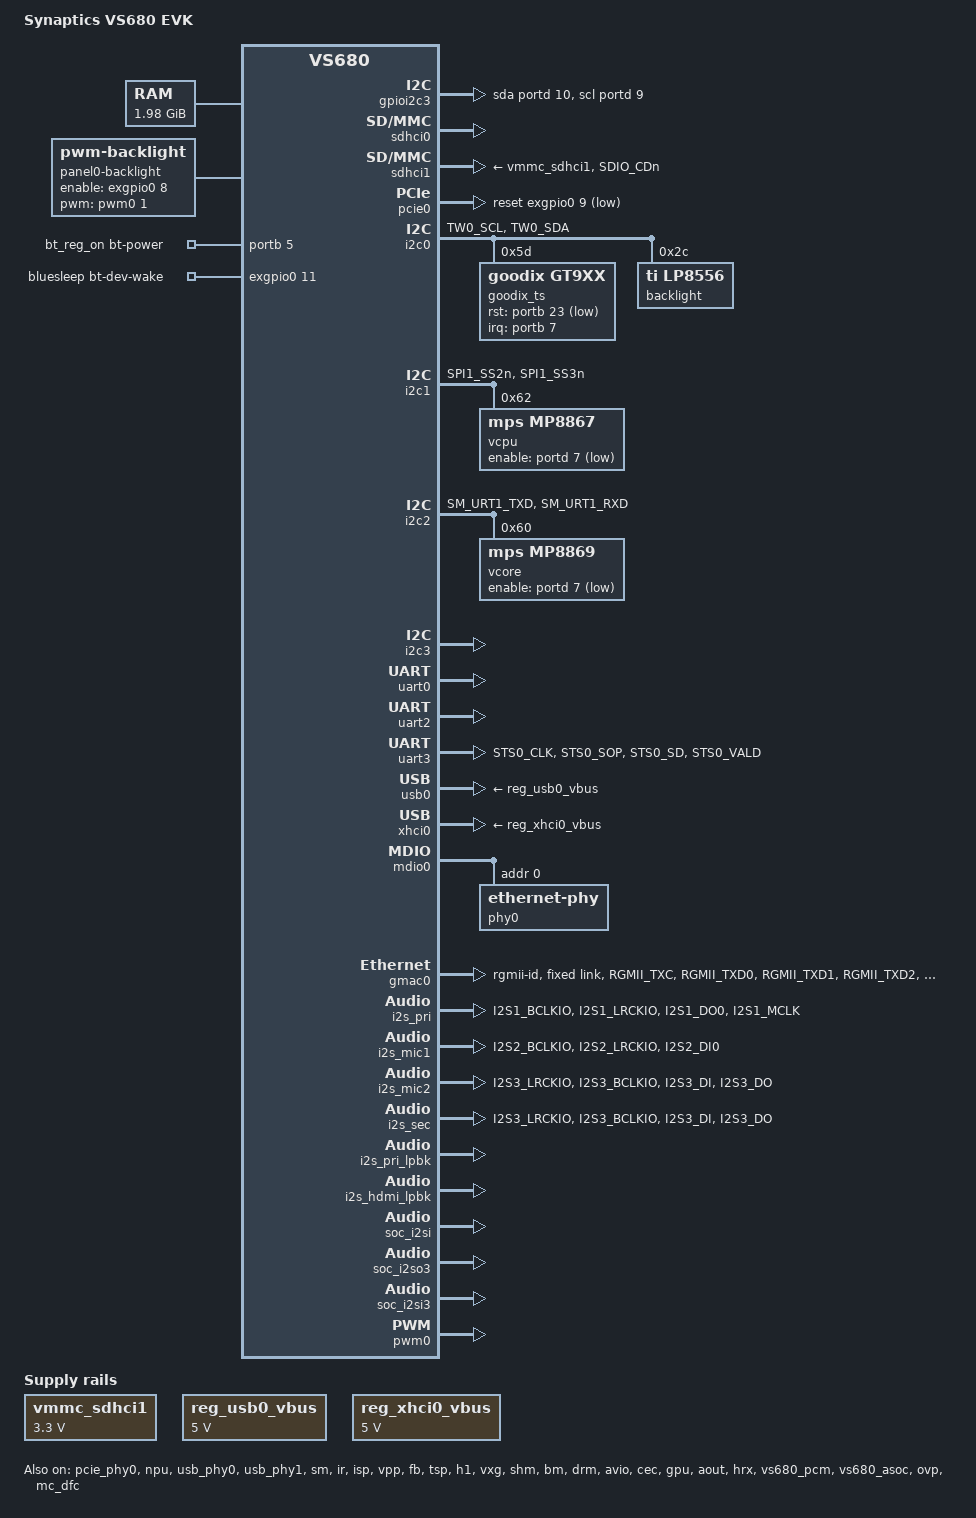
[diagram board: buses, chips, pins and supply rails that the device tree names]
// SPDX-License-Identifier: (GPL-2.0 OR MIT)
/*
 * Copyright (C) 2020 Synaptics Incorporated
 *
 * Author: Jisheng Zhang <jszhang@kernel.org>
 */

/dts-v1/;

/memreserve/ 0x7f000000 0x01000000;

#include <dt-bindings/gpio/gpio.h>

#include "vs680-a0.dtsi"

/ {
	model = "Synaptics VS680 EVK";
	compatible = "syna,vs680-evk", "syna,vs680";

	aliases {
		i2c3 = &i2cdemux3_i2c;
	};

	cpus {
		cpu@0 {
			cpu0-supply = <&vcpu>;
		};
	};

	chosen {
		stdout-path = "serial0:115200n8";
	};

	memory {
		device_type = "memory";
		reg = <0 0x01000000 0 0x7f000000>;
	};

	reserved-memory {
		#address-cells = <2>;
		#size-cells = <2>;
		ranges;

		ramoops@f901c000{
			compatible = "ramoops";
			reg = <0x0 0xf901c000 0x0 0x4000>;
			record-size = <0x4000>;
		};
	};

	panel0-backlight {
		compatible = "pwm-backlight";
		pinctrl-names = "default";
		pinctrl-0 = <&pwm1_pmux>;
		pwms = <&pwm0 1 1000000 0>;
		brightness-levels = <
			0 1 2 3 4 5 6 7
			8 9 10 11 12 13 14 15
			16 17 18 19 20 21 22 23
			24 25 26 27 28 29 30 31
			32 33 34 35 36 37 38 39
			40 41 42 43 44 45 46 47
			48 49 50 51 52 53 54 55
			56 57 58 59 60 61 62 63
			64 65 66 67 68 69 70 71
			72 73 74 75 76 77 78 79
			80 81 82 83 84 85 86 87
			88 89 90 91 92 93 94 95
			96 97 98 99 100 101 102 103
			104 105 106 107 108 109 110 111
			112 113 114 115 116 117 118 119
			120 121 122 123 124 125 126 127
			128 129 130 131 132 133 134 135
			136 137 138 139 140 141 142 143
			144 145 146 147 148 149 150 151
			152 153 154 155 156 157 158 159
			160 161 162 163 164 165 166 167
			168 169 170 171 172 173 174 175
			176 177 178 179 180 181 182 183
			184 185 186 187 188 189 190 191
			192 193 194 195 196 197 198 199
			200 201 202 203 204 205 206 207
			208 209 210 211 212 213 214 215
			216 217 218 219 220 221 222 223
			224 225 226 227 228 229 230 231
			232 233 234 235 236 237 238 239
			240 241 242 243 244 245 246 247
			248 249 250 251 252 253 254 255>;
		default-brightness-level = <254>;
		//enable-gpio ET6416 GPIO1.0
		enable-gpio = <&exgpio0 8  GPIO_ACTIVE_HIGH>;
		status = "okay";
	};

	ion {
		compatible = "syna,ion-berlin-heaps";
		pool-num = <2>;
		reg-names = "NonSecure", "Secure";
		reg = <0 0x7f000000 0 0x00800000>,
		      <0 0x7f800000 0 0x00800000>;
		attributes-num-per-pool = <2>;
		pool-attributes = <0x00000105 0x00000F3A 0x00000102 0x00000F3D>;
	};

	regulators {
		compatible = "simple-bus";
		#address-cells = <1>;
		#size-cells = <0>;

		vmmc_sdhci1: vmmc_sdhci1 {
			compatible = "regulator-fixed";
			regulator-min-microvolt = <3300000>;
			regulator-max-microvolt = <3300000>;
			regulator-name = "vmmc_sdio";
			enable-active-high;
			//gpio = <&expander3 1 GPIO_ACTIVE_HIGH>;
		};

		reg_usb0_vbus: usb0_vbus {
			compatible = "regulator-fixed";
			regulator-name = "usb0_vbus";
			regulator-min-microvolt = <5000000>;
			regulator-max-microvolt = <5000000>;
			//gpio = <&expander2 3 GPIO_ACTIVE_HIGH>;
			enable-active-high;
		};

		reg_xhci0_vbus: xhci0_vbus {
			compatible = "regulator-fixed";
			regulator-name = "xhci0_vbus";
			regulator-min-microvolt = <5000000>;
			regulator-max-microvolt = <5000000>;
			//gpio = <&expander2 2 GPIO_ACTIVE_HIGH>;
			enable-active-high;
		};
	};

	dummy_label {
		dummy1 = <&vcpu1>;
		dummy2 = <&vcore1>;
		dummy3 = <&vcpu2>;
		dummy4 = <&vcore2>;
	};

	bt_reg_on: bt_reg_on {		
		compatible = "syna,rfkill";
		status = "okay";
		//bt-power-gpio = <&expander1 5 GPIO_ACTIVE_HIGH>;
		//BT_RST_N：GPIO[37]   
		bt-power-gpio = <&portb 5 GPIO_ACTIVE_HIGH>;
	};


/*	
    //这一段不能加，否则程序不能很好打开工作，切记

	//WIFI_EN：-ET6416 GPIO1.2  (O,置H wifi工作)
	wifi_reg_on: wifi_reg_on {
		compatible = "android,bcmdhd_wlan";
		status = "okay";
		wl_reg_on = <&exgpio0 10 GPIO_ACTIVE_HIGH>;
		wl_host_wake = <&portd 14 GPIO_ACTIVE_HIGH>;
	};

*/
	////HOST_WAKE_BT：ET6416 GPIO1.3 
	bluesleep: bluesleep {
		compatible = "syna,bluesleep";
		bt-dev-wake-gpio = <&exgpio0 11 GPIO_ACTIVE_HIGH>;
	};

	gpioi2c3: gpioi2c3 {
		#address-cells = <1>;
		#size-cells = <0>;
		compatible = "i2c-gpio";
		gpios = <&portd 10 GPIO_ACTIVE_HIGH /* sda */
			 &portd 9 GPIO_ACTIVE_HIGH /* scl */
			>;
		i2c-gpio,delay-us = <5>;
	};

	i2cdemux3 {
		compatible = "i2c-dyndmx-pinctrl";
		#address-cells = <1>;
		#size-cells = <0>;

		i2c-parent = <&i2c3>, <&gpioi2c3>;

		pinctrl-names = "i2c3", "gpioi2c3";
		pinctrl-0 = <&i2c3_pmux>;
		pinctrl-1 = <&gpioi2c3_pmux>;

		i2cdemux3_i2c: i2c@0 {
			reg = <0>;
			#address-cells = <1>;
			#size-cells = <0>;

			sn6040_codec: sn6040@33 {
				compatible = "senarytech,sn6040-codec";
				pinctrl-names = "default";
				//pinctrl-0 = <&falcon_gpio_pmux>;
				reg = <0x33>;
				#sound-dai-cells = <0>;
				status = "okay";
			};

			exgpio0: gpio@20 {
				compatible = "etek,et6416";
				reg = <0x20>;
				gpio-controller;
				#gpio-cells = <2>;
			};	
/*
			rtc0: rtc@68 {
				compatible = "dallas,ds1339";
				wakeup-source;
				reg = <0x68>;
			};
*/
		};

		i2c@1 {
			reg = <1>;
			#address-cells = <1>;
			#size-cells = <0>;
		};
	};
};

&pinctrl {
	gmac0_pmux: gmac0-pmux {
		groups = "RGMII_TXC", "RGMII_TXD0", "RGMII_TXD1", "RGMII_TXD2", "RGMII_TXD3", "RGMII_TXCTL", "RGMII_RXC", "RGMII_RXD0", "RGMII_RXD1", "RGMII_RXD2", "RGMII_RXD3", "RGMII_RXCTL";
		function = "rgmii";
		drive-strength = <3>;
	};

	i2c0_pmux: i2c0-pmux {
		groups = "TW0_SCL", "TW0_SDA";
		function = "tw0";
		drive-strength = <7>;
	};

	i2c1_pmux: i2c1-pmux {
		groups = "SPI1_SS2n", "SPI1_SS3n";
		function = "tw1b";
		drive-strength = <3>;
	};

	sdhci1_pmux: sdhci1-pmux {
		groups = "SDIO_CDn";
		function = "sdio";
		drive-strength = <7>;
	};

    // BT for uart3
	uart3_pmux: uart3-pmux {
		groups = "STS0_CLK", "STS0_SOP", "STS0_SD", "STS0_VALD";
		function = "uart3";
	};

	pwm1_pmux: pwm1-pmux {
		groups = "SPI1_SS1n";
		function = "pwm";
	};
};

&sm_pinctrl {
	i2c2_pmux: i2c2-pmux {
		groups = "SM_URT1_TXD", "SM_URT1_RXD";
		function = "tw2b";
		drive-strength = <7>;
	};

	i2c3_pmux: i2c3-pmux {
		groups = "SM_TW3_SCL", "SM_TW3_SDA";
		function = "tw3";
		drive-strength = <7>;
	};

/*
	uart2_pmux: uart2-pmux {
		groups = "SM_SPI2_SS2n", "SM_SPI2_SS3n", "SM_SPI2_SDI", "SM_SPI2_SDO";
		function = "uart2";
		drive-strength = <3>;
	};
*/

	gpioi2c3_pmux: gpioi2c3-pmux {
		groups = "SM_TW3_SCL", "SM_TW3_SDA";
		function = "gpio";
		drive-strength = <7>;
	};

	hrx5v_pmux: hrx5v-pmux {
		groups = "SM_HDMIRX_PWR5V";
		function = "gpio";
		drive-strength = <7>;
	};
};

&avio_pinctrl {

	i2s1_pmux: i2s1-pmux {
		groups = "I2S1_BCLKIO", "I2S1_LRCKIO", "I2S1_DO0", "I2S1_MCLK";
		function = "i2s1";
	};

	i2s2_pmux: i2s2-pmux {
		groups = "I2S2_BCLKIO", "I2S2_LRCKIO", "I2S2_DI0";
		function = "i2s2";
	};

	falcon_gpio_pmux: falcon_gpio-pmux {
		groups = "I2S1_DO1";
		function = "gpio";
	};

	i2s3_pmux: i2s3-pmux {
		groups = "I2S3_LRCKIO", "I2S3_BCLKIO", "I2S3_DI","I2S3_DO";
		function = "i2s3";
	};

	pdm_pmux: pdm-pmux {
		groups = "I2S2_MCLK", "I2S2_DI3", "I2S2_DI2";
		function = "pdm";
	};

	spdifo_pmux: spdifo-pmux {
		groups = "SPDIFO";
		function = "spdifo";
	};

	spdifi_pmux: spdifi-pmux {
		groups = "SPDIFI";
		function = "spdifi";
	};

	spdifo_pmux: spdifo-pmux {
		groups = "SPDIFO";
		function = "spdifo";
	};
};

&sdhci0 {
	status = "okay";
	sdclkdl-dc = /bits/ 8 <26>;
	pad-sp = /bits/ 8 <14>;
	pad-sn = /bits/ 8 <14>;
	mmc-ddr-1_8v;
	mmc-hs200-1_8v;
	mmc-hs400-1_8v;
	dll-calibration;
};

&sdhci1 {
	status = "okay";
	pinctrl-0 = <&sdhci1_pmux>;
	pinctrl-names = "default";
	no-sdio;
	no-mmc;
	disable-wp;
	sdclkdl-dc = /bits/ 8 <75>;
	pad-sp = /bits/ 8 <12>;
	pad-sn = /bits/ 8 <12>;
	vmmc-supply = <&vmmc_sdhci1>;
};

&pcie_phy0 {
	status = "okay";
};


&pcie0 {
	status = "okay";
	//ET6416  GPIO1.1  
	reset-gpios = <&exgpio0 9 GPIO_ACTIVE_LOW>;
};

&i2c0 {
	status = "okay";
	pinctrl-names = "default";
	pinctrl-0 = <&i2c0_pmux>;
	no-irq-suspend;

    goodix_ts@5d {
        compatible = "goodix,gt9xx";
		status = "okay";
		reg = <0x5d>;
		interrupt-parent = <&portb>;
		interrupts = <7 0>;
	    	goodix,rst-gpio = <&portb 23 GPIO_ACTIVE_LOW>;
		goodix,irq-gpio = <&portb 7 0>;
	    goodix,cfg-group0 = [63  72  06  B0  04  0A  3D  00  01  08  1E  08  5A  3C  03  05
		                     00  00  00  00  00  00  04  18  1A  1E  14  90  30  AA  2E  30
							 12  0C  00  00  00  DA  03  10  00  00  00  00  00  00  00  00
							 00  00  00  1E  46  94  D5  13  0C  00  00  04  A6  3B  00  9A
							 43  00  90  4D  00  86  59  00  7D  66  00  7D  00  00  00  00
							 00  00  00  00  00  00  00  00  00  00  00  00  00  00  00  00
							 00  00  00  00  00  00  00  00  00  00  00  00  00  00  00  00
							 00  01  04  05  06  07  08  09  0C  0D  0E  0F  10  11  14  15
							 16  17  18  19  00  00  00  00  00  00  00  00  00  00  2A  29
							 28  27  26  25  24  23  22  21  20  1F  1E  1C  1B  19  14  13
							 12  11  10  0F  0E  0D  0C  0A  08  07  06  04  02  00  00  00
							 00  00  00  00  00  00  00  00  79  01];
						
		goodix,cfg-group2 = [63  72  06  B0  04  0A  3D  00  01  08  1E  08  5A  3C  03  05
		                     00  00  00  00  00  00  04  18  1A  1E  14  90  30  AA  2E  30
							 12  0C  00  00  00  DA  03  10  00  00  00  00  00  00  00  00
							 00  00  00  1E  46  94  D5  13  0C  00  00  04  A6  3B  00  9A
							 43  00  90  4D  00  86  59  00  7D  66  00  7D  00  00  00  00
							 00  00  00  00  00  00  00  00  00  00  00  00  00  00  00  00
							 00  00  00  00  00  00  00  00  00  00  00  00  00  00  00  00
							 00  01  04  05  06  07  08  09  0C  0D  0E  0F  10  11  14  15
							 16  17  18  19  00  00  00  00  00  00  00  00  00  00  2A  29
							 28  27  26  25  24  23  22  21  20  1F  1E  1C  1B  19  14  13
							 12  11  10  0F  0E  0D  0C  0A  08  07  06  04  02  00  00  00
							 00  00  00  00  00  00  00  00  79  01];
	};

	backlight@2c {
		compatible = "ti,lp8556";
		reg = <0x2c>;
		bl-name = "lcd-bl";
		dev-ctrl = /bits/ 8 <0x05>;
		init-brt = /bits/ 8 <0xFF>;
		pwm-period = /bits/ 8 <0x00>;

		/* CFG2 */
		rom_A2h {
			rom-addr = /bits/ 8 <0xA2>;
			rom-val = /bits/ 8 <0x28>;
		};
	};
};

&i2c1 {
	status = "okay";
	pinctrl-names = "default";
	pinctrl-0 = <&i2c1_pmux>;

	vcpu: regulator@62 {
		compatible = "mps,mp8867";
		regulator-name = "vcpu";
		regulator-min-microvolt = <700000>;
		regulator-max-microvolt = <980000>;
		regulator-always-on;
		regulator-boot-on;
		enable-gpios = <&portd 7 GPIO_ACTIVE_LOW>;
		mps,fb-voltage-divider = <80 240>;
		mps,switch-frequency-hz = <1500000>;
		mps,vsel-step = <1>;
		reg = <0x62>;
	};

	vcpu1: regulator1@60 {
		status = "disabled";
		compatible = "silergy,sy8827n";
		regulator-name = "vcpu";
		regulator-min-microvolt = <700000>;
		regulator-max-microvolt = <987500>;
		regulator-always-on;
		regulator-boot-on;
		enable-gpios = <&portd 7 GPIO_ACTIVE_LOW>;
		silergy,vsel-step = <1>;
		reg = <0x60>;
	};

	vcpu2: regulator2@40 {
		status = "disabled";
		compatible = "silergy,syr837_8";
		regulator-name = "vcpu";
		regulator-min-microvolt = <712500>;
		regulator-max-microvolt = <987500>;
		regulator-always-on;
		regulator-boot-on;
		enable-gpios = <&portd 7 GPIO_ACTIVE_LOW>;
		silergy,vsel-step = <1>;
		reg = <0x40>;
	};
};

&i2c2 {
	status = "okay";
	pinctrl-names = "default";
	pinctrl-0 = <&i2c2_pmux>;

	vcore: regulator@60 {
		compatible = "mps,mp8869";
		regulator-name = "vcore";
		regulator-min-microvolt = <700000>;
		regulator-max-microvolt = <900000>;
		regulator-always-on;
		regulator-boot-on;
		enable-gpios = <&portd 7 GPIO_ACTIVE_LOW>;
		mps,fb-voltage-divider = <80 240>;
		mps,switch-frequency-hz = <1250000>;
		mps,vsel-step = <1>;
		regulator-ramp-delay = <40000>;
		reg = <0x60>;
	};

	vcore1: regulator1@60 {
		status = "disabled";
		compatible = "silergy,sy8827n";
		regulator-name = "vcore";
		regulator-min-microvolt = <700000>;
		regulator-max-microvolt = <937500>;
		regulator-always-on;
		regulator-boot-on;
		enable-gpios = <&portd 7 GPIO_ACTIVE_LOW>;
		silergy,vsel-step = <1>;
		reg = <0x60>;
	};

	vcore2: regulator2@40 {
		status = "disabled";
		compatible = "silergy,syr837_8";
		regulator-name = "vcore";
		regulator-min-microvolt = <712500>;
		regulator-max-microvolt = <937500>;
		regulator-always-on;
		regulator-boot-on;
		enable-gpios = <&portd 7 GPIO_ACTIVE_LOW>;
		silergy,vsel-step = <1>;
		reg = <0x40>;
	};
};

&i2c3 {
	status = "okay";
	no-irq-suspend;
};

&uart0 {
	status = "okay";
};

//uart2 is defined uart interface
&uart2 {
	status = "okay";
	//pinctrl-0 = <&uart2_pmux>;
	//pinctrl-names = "default";
};

 // BT need uart3
&uart3 {
	status = "okay";
	pinctrl-0 = <&uart3_pmux>;
	pinctrl-names = "default";
};


&npu {
	status = "okay";
};

&usb0 {
	vbus-supply = <&reg_usb0_vbus>;
	status = "okay";
};

&usb_phy0  {
	status = "okay";
};

&xhci0 {
	vbus-supply = <&reg_xhci0_vbus>;
	status = "okay";
};

&usb_phy1  {
	status = "okay";
};

&mdio0 {
	//status = "disabled";
	phy0: ethernet-phy@0 {
		reg = <0>;
	};
};

&gmac0 {
	status = "okay";
	pinctrl-0 = <&gmac0_pmux>;
	pinctrl-names = "default";
	//phy-handle = <&phy0>;
	phy-mode = "rgmii-id";
	snps,reset-gpio = <&portd 17 GPIO_ACTIVE_LOW>;
	snps,reset-delays-us = <0 10000 50000>;
	fixed-link {
		speed = <1000>;
		full-duplex;
	};
};

&sm {
	status = "okay";
};

&ir {
	status = "okay";
};

//gpio 16 SM_GPIO[16](Output Only)
&isp {
	status = "okay";
	enable-gpios = <&porta 16 GPIO_ACTIVE_HIGH>;
	i2c-bus = <&i2c3>;
	dev-addr = <112>;
};

&vpp {
	status = "okay";
};

&fb {
	status = "okay";
};

&tsp {
	status = "okay";
};

&h1 {
	status = "okay";
};

&vxg {
	status = "okay";
};

&shm {
	status = "okay";
};

&bm {
	status = "okay";
};

&drm {
	status = "okay";
};

//MIPI_RESET: GPIO17  
&avio {
	status = "okay";
	vpp {
		hdtx5v-gpio = <&portd 16 GPIO_ACTIVE_HIGH>;
		mipirst-gpio = <&porta 17 GPIO_ACTIVE_LOW>;
		
	};
};

&cec {
	status = "okay";
};

&axi_mc0 {
	status = "okay";
};

&gpu {
	status = "okay";
};

&aout {
	status = "okay";
};

&hrx {
	status = "okay";
	pinctrl-0 = <&hrx5v_pmux>;
	pinctrl-names = "default";
	hrxhpd-gpio = <&portd 12 GPIO_ACTIVE_LOW>;
	hrx5v-gpio = <&portd 21 GPIO_ACTIVE_HIGH>;
};

&i2s_pri {
	status = "okay";
	pinctrl-0 = <&i2s1_pmux>;
	pinctrl-names = "default";
};

&spdif_out {
	status = "disabled";
	pinctrl-0 = <&spdifo_pmux>;
	pinctrl-names = "default";
};

&i2s_mic1 {
	status = "okay";
	pinctrl-0 = <&i2s2_pmux>;
	pinctrl-names = "default";
	intlmode;
	slave;
	disable_mic_mute;
};

&dmic {
	status = "disabled";
	//pinctrl-0 = <&pdm_pmux>;
	pinctrl-names = "default";
	pdm-type = <1>;
	pdm-clk-sel = <2>;
};

&i2s_mic2 {
	status = "okay";
	pinctrl-0 = <&i2s3_pmux>;
	pinctrl-names = "default";
	slave;
	invertbclk;
};

&i2s_sec {
	status = "okay";
	pinctrl-0 = <&i2s3_pmux>;
	pinctrl-names = "default";
	slave;
	duplex;
};

&i2s_mic6 {
	status = "disabled";
};

&i2s_pri_lpbk {
	status = "okay";
};

&i2s_hdmi_lpbk {
	status = "okay";
};

&vs680_spdifi {
	status = "disabled";
	//pinctrl-0 = <&spdifi_pmux>;
	pinctrl-names = "default";
	//gate-gpio = <&expander2 4 GPIO_ACTIVE_HIGH>;
	//enable-gpio = <&expander3 7 GPIO_ACTIVE_LOW>;
	dynamic-src-ctrl;
};

&vs680_pcm {
	status = "okay";
};

&vs680_asoc {
	status = "okay";

 	sn6040_sound: sn6040-sound {
		status = "okay";
		stream-name = "sn6040-sound";
		link-name = "sn6040-sound";
		format = "i2s";
		continuous-clock;
		bitclock-inversion;
		frame-inversion;
		bitclock-master;
		frame-master;
		cpu-node = <&i2s_pri>;
		codec-node = <&sn6040_codec>;
		codec-dai-name = "sn6040-hifi";
		platform-node = <&vs680_pcm>;
	};

	soc_spdifo: soc-spdifo {
		status = "disabled";
		stream-name = "soc-spdifo";
		link-name = "soc-spdifo";
		format = "dsp_a";
		cpu-node = <&spdif_out>;
		codec-name = "snd-soc-dummy";
		codec-dai-name = "snd-soc-dummy-dai";
		platform-node = <&vs680_pcm>;
	};

	soc_dmic: soc-dmic {
		status = "disabled";
		stream-name = "soc-dmic";
		link-name = "soc-dmic";
		cpu-node = <&dmic>;
		codec-name = "snd-soc-dummy";
		codec-dai-name = "snd-soc-dummy-dai";
		platform-node = <&vs680_pcm>;
	};

	soc_i2si: soc-i2si {
		status = "okay";
		stream-name = "soc-i2si";
		link-name = "soc-i2si";
		format = "i2s";
		cpu-node = <&i2s_mic1>;
		codec-node = <&sn6040_codec>;
		codec-dai-name = "sn6040-hifi";
		platform-node = <&vs680_pcm>;
	};

	soc_i2so3: soc-i2so3 {
		status = "okay";
		stream-name = "soc-i2so3";
		link-name = "soc-i2so3";
		format = "i2s";
		cpu-node = <&i2s_sec>;
		codec-name = "snd-soc-dummy";
		codec-dai-name = "snd-soc-dummy-dai";
		platform-node = <&vs680_pcm>;
	};


	soc_i2si3: soc-i2si3 {
		status = "okay";
		stream-name = "soc-i2si3";
		link-name = "soc-i2si3";
		format = "i2s";
		cpu-node = <&i2s_mic2>;
		codec-name = "snd-soc-dummy";
		codec-dai-name = "snd-soc-dummy-dai";
		platform-node = <&vs680_pcm>;
	};
/*
	soc_i2s_pri_lpbk: soc-i2s-pri-lpbk {
		status = "okay";
		stream-name = "soc-i2s-pri-lpbk";
		link-name = "soc-i2s-pri-lpbk";
		format = "i2s";
		cpu-node = <&i2s_pri_lpbk>;
		codec-name = "snd-soc-dummy";
		codec-dai-name = "snd-soc-dummy-dai";
		platform-node = <&vs680_pcm>;
	};

	soc_i2s_hdmi_lpbk: soc-i2s-hdmi-lpbk {
		status = "okay";
		stream-name = "soc-i2s-hdmi-lpbk";
		link-name = "soc-i2s-hdmi-lpbk";
		format = "i2s";
		cpu-node = <&i2s_hdmi_lpbk>;
		codec-name = "snd-soc-dummy";
		codec-dai-name = "snd-soc-dummy-dai";
		platform-node = <&vs680_pcm>;
	};

	soc_spdifi: soc-spdifi {
		status = "disabled";
		stream-name = "soc-spdifi";
		link-name = "soc-spdifi";
		cpu-node = <&vs680_spdifi>;
		codec-name = "snd-soc-dummy";
		codec-dai-name = "snd-soc-dummy-dai";
		platform-node = <&vs680_pcm>;
	};

	soc_i2s_earc: soc-i2s-earc {
		status = "okay";
		stream-name = "soc-i2s-earc";
		link-name = "soc-i2s-earc";
		format = "i2s";
		bitclock-master;
		frame-master;
		cpu-node = <&i2s_mic6>;
		codec-name = "snd-soc-dummy";
		codec-dai-name = "snd-soc-dummy-dai";
		platform-node = <&vs680_pcm>;
	};
	*/
};

&ovp {
	status = "okay";
};

&pwm0 {
	status = "okay";
};

&mc_dfc {
	status = "okay";
};
